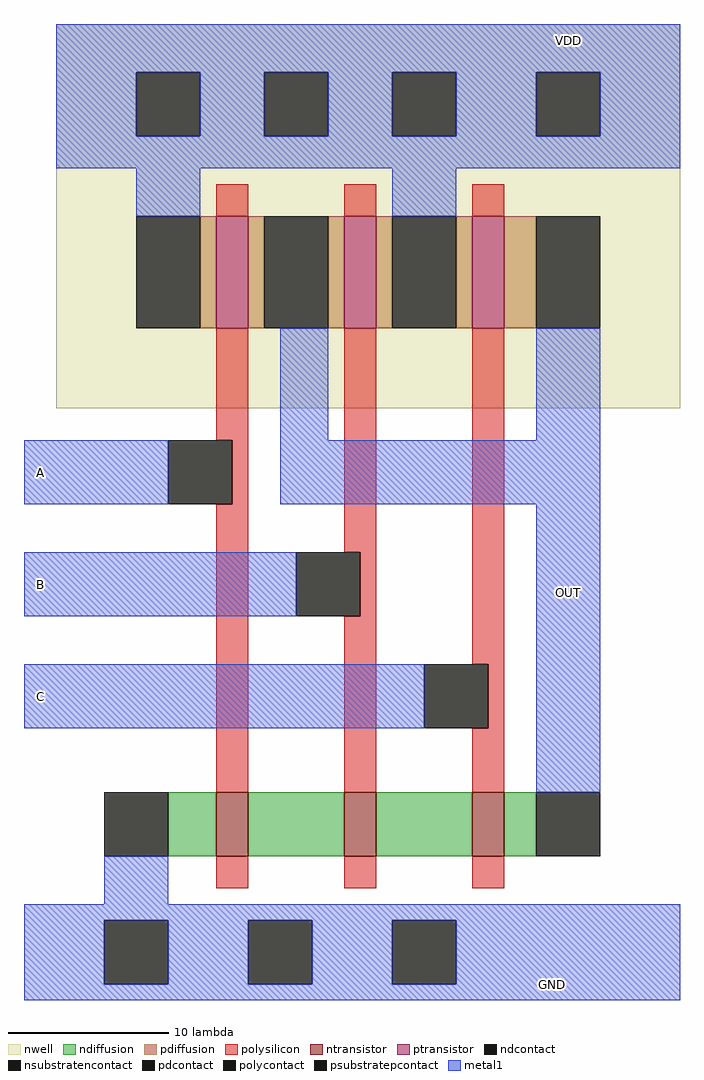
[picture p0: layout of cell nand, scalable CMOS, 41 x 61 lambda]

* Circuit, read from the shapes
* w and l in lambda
.subckt nand A B C GND OUT VDD
M1 n1 A GND GND nfet w=4 l=2
M2 n2 B n1 GND nfet w=4 l=2
M3 OUT C n2 GND nfet w=4 l=2
M4 OUT A VDD VDD pfet w=7 l=2
M5 VDD B OUT VDD pfet w=7 l=2
M6 OUT C VDD VDD pfet w=7 l=2
.ends

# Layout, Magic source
magic
tech scmos
<< nwell >>
rect -22 2 17 26
<< polysilicon >>
rect -12 14 -10 16
rect -4 14 -2 16
rect 4 14 6 16
rect -12 0 -10 7
rect -11 -4 -10 0
rect -12 -22 -10 -4
rect -4 -7 -2 7
rect -3 -11 -2 -7
rect -4 -22 -2 -11
rect 4 -14 6 7
rect 5 -18 6 -14
rect 4 -22 6 -18
rect -12 -28 -10 -26
rect -4 -28 -2 -26
rect 4 -28 6 -26
<< ndiffusion >>
rect -15 -26 -12 -22
rect -10 -26 -4 -22
rect -2 -26 4 -22
rect 6 -26 8 -22
<< pdiffusion >>
rect -13 7 -12 14
rect -10 7 -9 14
rect -5 7 -4 14
rect -2 7 -1 14
rect 3 7 4 14
rect 6 7 8 14
<< metal1 >>
rect -22 23 17 26
rect -22 19 -17 23
rect -13 19 -9 23
rect -5 19 -1 23
rect 3 19 8 23
rect 12 19 17 23
rect -22 17 17 19
rect -17 14 -13 17
rect -1 14 3 17
rect -8 0 -5 7
rect 8 0 12 7
rect -24 -4 -15 0
rect -8 -4 12 0
rect -24 -11 -7 -7
rect -24 -18 1 -14
rect 8 -22 12 -4
rect -19 -29 -15 -26
rect -24 -30 17 -29
rect -24 -34 -19 -30
rect -15 -34 -10 -30
rect -6 -34 -1 -30
rect 3 -34 17 -30
rect -24 -35 17 -34
<< ntransistor >>
rect -12 -26 -10 -22
rect -4 -26 -2 -22
rect 4 -26 6 -22
<< ptransistor >>
rect -12 7 -10 14
rect -4 7 -2 14
rect 4 7 6 14
<< polycontact >>
rect -15 -4 -11 0
rect -7 -11 -3 -7
rect 1 -18 5 -14
<< ndcontact >>
rect -19 -26 -15 -22
rect 8 -26 12 -22
<< pdcontact >>
rect -17 7 -13 14
rect -9 7 -5 14
rect -1 7 3 14
rect 8 7 12 14
<< psubstratepcontact >>
rect -19 -34 -15 -30
rect -10 -34 -6 -30
rect -1 -34 3 -30
<< nsubstratencontact >>
rect -17 19 -13 23
rect -9 19 -5 23
rect -1 19 3 23
rect 8 19 12 23
<< labels >>
rlabel metal1 7 -35 11 -33 1 GND
rlabel metal1 -24 -4 -22 0 3 A
rlabel metal1 -24 -11 -22 -7 3 B
rlabel metal1 -24 -18 -22 -14 3 C
rlabel metal1 8 -11 12 -8 1 OUT
rlabel metal1 8 24 12 26 5 VDD
<< end >>
